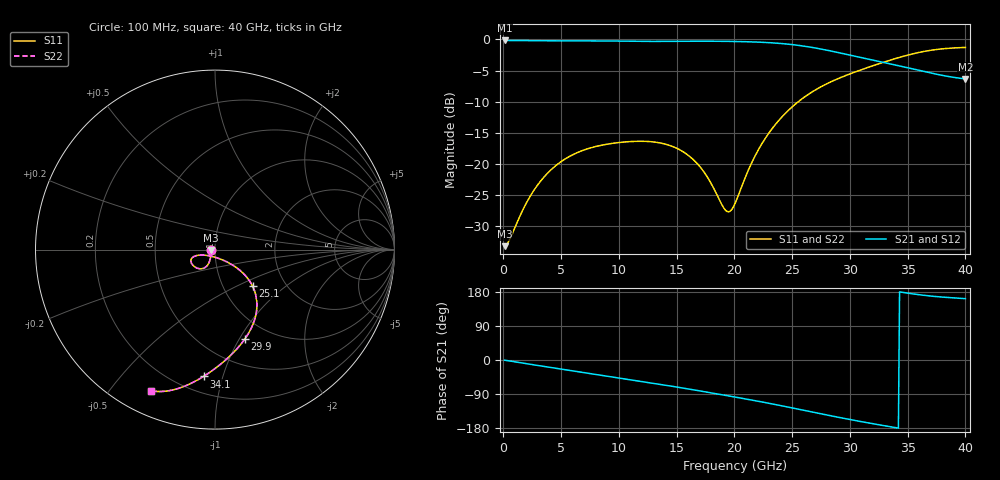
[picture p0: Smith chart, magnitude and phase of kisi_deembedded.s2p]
! A_s4_d300_ap600: kisi-fdtd, de-embedded with the 2×thru
# Hz S RI R 50
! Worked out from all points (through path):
!   400 points, 100 MHz to 40 GHz, reference 50 ohm
!   highest |S21| = -0.15 dB at 100 MHz (marker M1); lowest = -6.4 dB at 40 GHz (marker M2)
!   group delay of S21, straight-line fit = 14.6 ps
!   lowest |S11| = -33.3 dB at 100 MHz (marker M3), VSWR 1.04, Z = 47.9 - j0.203 ohm
!   |S11| at or under -10 dB: start of sweep to 25.54 GHz
!   |S22| runs from -33.3 to -1.3 dB; largest |S21 - S12| = 2e-07
!   S11 on the Smith chart (normalised r, x): 100 MHz: 0.96, -0.00; 25.1 GHz: 1.37, -0.61; 29.9 GHz: 0.77, -1.06; 34.1 GHz: 0.30, -0.87; 40 GHz: 0.10, -0.64
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1e8  -0.0216 -0.00211  0.9824 -0.0085  0.9824 -0.0085  -0.0216 -0.00211
2.1e9  -0.0249 -0.0439  0.9635 -0.1748  0.9635 -0.1748  -0.0249 -0.0439
3.3e9  -0.0312 -0.0671  0.9392 -0.2686  0.9392 -0.2686  -0.0312 -0.0671
4.9e9  -0.0459 -0.0916  0.8957 -0.3876  0.8957 -0.3876  -0.0459 -0.0916
6.8e9  -0.0703 -0.106  0.825 -0.5219  0.825 -0.5219  -0.0703 -0.106
1.01e10  -0.1136 -0.0954  0.6499 -0.7201  0.6499 -0.7201  -0.1136 -0.0954
1.34e10  -0.1345 -0.0615  0.4313 -0.8636  0.4313 -0.8636  -0.1345 -0.0615
1.51e10  -0.1245 -0.0431  0.3021 -0.9189  0.3021 -0.9189  -0.1245 -0.0431
1.66e10  -0.0991 -0.0324  0.1773 -0.9526  0.1773 -0.9526  -0.0991 -0.0324
1.77e10  -0.0707 -0.0303  0.0809 -0.9656  0.0809 -0.9656  -0.0707 -0.0303
1.93e10  -0.0171 -0.0379  -0.0625 -0.9645  -0.0625 -0.9645  -0.0171 -0.0379
1.97e10  -0.00186 -0.042  -0.0985 -0.9603  -0.0985 -0.9603  -0.00186 -0.042
2.01e10  0.0139 -0.0469  -0.1344 -0.9545  -0.1344 -0.9545  0.0139 -0.0469
2.13e10  0.0639 -0.0674  -0.2414 -0.9272  -0.2414 -0.9272  0.0639 -0.0674
2.23e10  0.1069 -0.0917  -0.3288 -0.8919  -0.3288 -0.8919  0.1069 -0.0917
2.51e10  0.2094 -0.2037  -0.5464 -0.7247  -0.5464 -0.7247  0.2094 -0.2037
2.67e10  0.2333 -0.2961  -0.6325 -0.5888  -0.6325 -0.5888  0.2333 -0.2961
2.99e10  0.1671 -0.4968  -0.6894 -0.3001  -0.6894 -0.3001  0.1671 -0.4968
3.34e10  -0.0203 -0.6776  -0.6367 -0.0484  -0.6367 -0.0484  -0.0203 -0.6776
3.41e10  -0.0638 -0.7065  -0.6181 -0.00859  -0.6181 -0.00859  -0.0638 -0.7065
3.68e10  -0.2287 -0.7804  -0.5334 0.1003  -0.5334 0.1003  -0.2287 -0.7804
4e10  -0.3562 -0.7868  -0.4568 0.1496  -0.4568 0.1496  -0.3562 -0.7868
